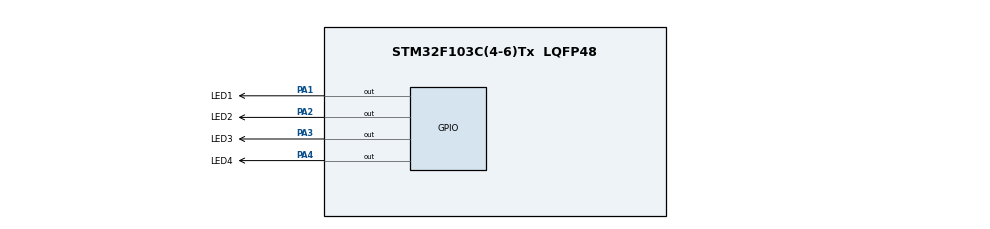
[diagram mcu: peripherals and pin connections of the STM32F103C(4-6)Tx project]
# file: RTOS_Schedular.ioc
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Mcu.Family=STM32F1
Mcu.Name=STM32F103C(4-6)Tx
Mcu.Package=LQFP48
NVIC.PriorityGroup=NVIC_PRIORITYGROUP_4
PA1.GPIO_Label=LED1
PA1.GPIO_PuPd=GPIO_PULLUP
PA1.Signal=GPIO_Output
PA2.GPIO_Label=LED2
PA2.GPIO_PuPd=GPIO_PULLUP
PA2.Signal=GPIO_Output
PA3.GPIO_Label=LED3
PA3.GPIO_PuPd=GPIO_PULLUP
PA3.Signal=GPIO_Output
PA4.GPIO_Label=LED4
PA4.GPIO_PuPd=GPIO_PULLUP
PA4.Signal=GPIO_Output
ProjectManager.HeapSize=0x200
ProjectManager.StackSize=0x400
ProjectManager.TargetToolchain=MDK-ARM V5
RCC.APB1Freq_Value=8000000
RCC.APB2Freq_Value=8000000
VP_SYS_VS_ND.Mode=No_Debug
board=custom

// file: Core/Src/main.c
/* USER CODE BEGIN Header */
/**
  ******************************************************************************
  * @file           : main.c
  * @brief          : Main program body
  ******************************************************************************
  * @attention
  *
  * <h2><center>&copy; Copyright (c) 2022 STMicroelectronics.
  * All rights reserved.</center></h2>
  *
  * This software component is licensed by ST under BSD 3-Clause license,
  * the "License"; You may not use this file except in compliance with the
  * License. You may obtain a copy of the License at:
  *                        opensource.org/licenses/BSD-3-Clause
  *
  ******************************************************************************
  */
/* USER CODE END Header */
#include "main.h"

void SystemClock_Config(void);
static void MX_GPIO_Init(void);

/* USER CODE BEGIN 0 */
void SPTTS_TASK_1(void)
{
	HAL_GPIO_WritePin(LED1_GPIO_Port, LED1_Pin, GPIO_PIN_RESET);
	HAL_Delay(2000);
	HAL_GPIO_WritePin(LED1_GPIO_Port, LED1_Pin, GPIO_PIN_SET);
}
void SPTTS_TASK_2(void)
{
	HAL_GPIO_WritePin(LED2_GPIO_Port, LED2_Pin, GPIO_PIN_RESET);
	HAL_Delay(2000);
	HAL_GPIO_WritePin(LED2_GPIO_Port, LED2_Pin, GPIO_PIN_SET);
}
void SPTTS_TASK_3(void)
{
	HAL_GPIO_WritePin(LED3_GPIO_Port, LED3_Pin, GPIO_PIN_RESET);
	HAL_Delay(2000);
	HAL_GPIO_WritePin(LED3_GPIO_Port, LED3_Pin, GPIO_PIN_SET);
}
void SPTTS_TASK_4(void)
{
	HAL_GPIO_WritePin(LED4_GPIO_Port, LED4_Pin, GPIO_PIN_RESET);
	HAL_Delay(4000);
	HAL_GPIO_WritePin(LED4_GPIO_Port, LED4_Pin, GPIO_PIN_SET);
}
/* USER CODE END 0 */

int main(void)
{
  /* USER CODE BEGIN 1 */
	void (*sptt_task_point_array[4]) (void) = {SPTTS_TASK_1,SPTTS_TASK_2,SPTTS_TASK_3,SPTTS_TASK_4};
	uint8_t i = 0;
  /* USER CODE END 1 */

  /* MCU Configuration--------------------------------------------------------*/

  /* Reset of all peripherals, Initializes the Flash interface and the Systick. */
  HAL_Init();

  /* Configure the system clock */
  SystemClock_Config();

  /* Initialize all configured peripherals */
  MX_GPIO_Init();

  /* Infinite loop */
  /* USER CODE BEGIN WHILE */
	uwTick = 0;
  while (1)
  {
    /* USER CODE END WHILE */

    /* USER CODE BEGIN 3 */
		if(uwTick == 1000)
		{
			for(i = 0; i < 4; i ++)
			{
				sptt_task_point_array[i]();
			}
		}
  }
  /* USER CODE END 3 */
}

void SystemClock_Config(void)
{
  RCC_OscInitTypeDef RCC_OscInitStruct = {0};
  RCC_ClkInitTypeDef RCC_ClkInitStruct = {0};

  /** Initializes the RCC Oscillators according to the specified parameters
  * in the RCC_OscInitTypeDef structure.
  */
  RCC_OscInitStruct.OscillatorType = RCC_OSCILLATORTYPE_HSI;
  RCC_OscInitStruct.HSIState = RCC_HSI_ON;
  RCC_OscInitStruct.HSICalibrationValue = RCC_HSICALIBRATION_DEFAULT;
  RCC_OscInitStruct.PLL.PLLState = RCC_PLL_NONE;
  if (HAL_RCC_OscConfig(&RCC_OscInitStruct) != HAL_OK)
  {
    Error_Handler();
  }
  /** Initializes the CPU, AHB and APB buses clocks
  */
  RCC_ClkInitStruct.ClockType = RCC_CLOCKTYPE_HCLK|RCC_CLOCKTYPE_SYSCLK
                              |RCC_CLOCKTYPE_PCLK1|RCC_CLOCKTYPE_PCLK2;
  RCC_ClkInitStruct.SYSCLKSource = RCC_SYSCLKSOURCE_HSI;
  RCC_ClkInitStruct.AHBCLKDivider = RCC_SYSCLK_DIV1;
  RCC_ClkInitStruct.APB1CLKDivider = RCC_HCLK_DIV1;
  RCC_ClkInitStruct.APB2CLKDivider = RCC_HCLK_DIV1;

  if (HAL_RCC_ClockConfig(&RCC_ClkInitStruct, FLASH_LATENCY_0) != HAL_OK)
  {
    Error_Handler();
  }
}

static void MX_GPIO_Init(void)
{
  GPIO_InitTypeDef GPIO_InitStruct = {0};

  /* GPIO Ports Clock Enable */
  __HAL_RCC_GPIOA_CLK_ENABLE();

  /*Configure GPIO pin Output Level */
  HAL_GPIO_WritePin(GPIOA, LED1_Pin|LED2_Pin|LED3_Pin|LED4_Pin, GPIO_PIN_RESET);

  /*Configure GPIO pins : LED1_Pin LED2_Pin LED3_Pin LED4_Pin */
  GPIO_InitStruct.Pin = LED1_Pin|LED2_Pin|LED3_Pin|LED4_Pin;
  GPIO_InitStruct.Mode = GPIO_MODE_OUTPUT_PP;
  GPIO_InitStruct.Pull = GPIO_PULLUP;
  GPIO_InitStruct.Speed = GPIO_SPEED_FREQ_LOW;
  HAL_GPIO_Init(GPIOA, &GPIO_InitStruct);

}

void Error_Handler(void)
{
  __disable_irq();
  while (1)
  {
  }
}

/************************ (C) COPYRIGHT STMicroelectronics *****END OF FILE****/
